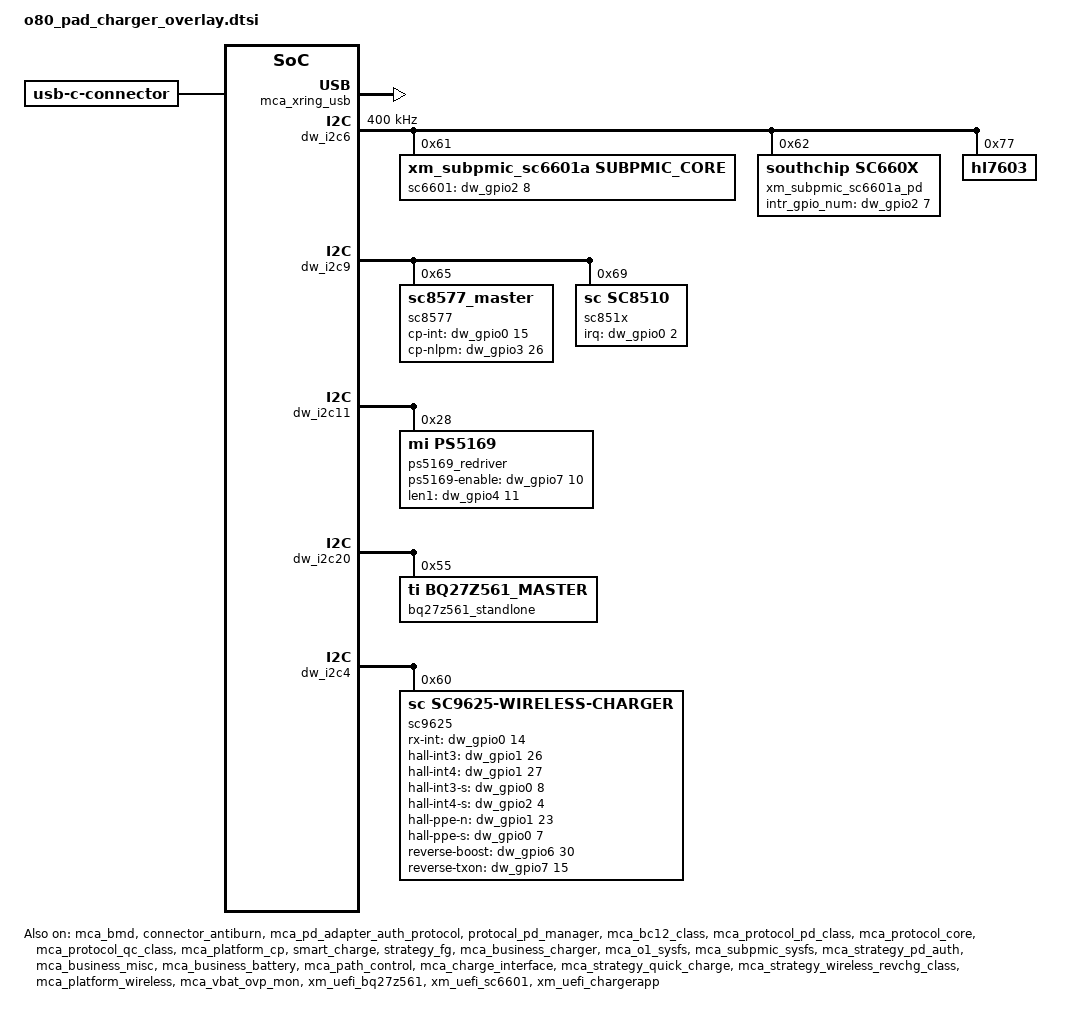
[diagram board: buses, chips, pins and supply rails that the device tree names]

&mca_bmd {
	status = "okay";
	btb_bmd_scheme = <3 3>;
	//pinctrl-names = "default";
	//pinctrl-0 = <&slave_batt_det_default>;
	//btb_gpio = <&pmih010x_gpios 2 GPIO_ACTIVE_LOW>;
};

&connector_antiburn {
	status = "okay";
	//names = "default";
	//pinctrl-0 = <&anti_burn_mos_ctrl_default>;
	//mos-ctrl-gpio = <&pm8550_gpios 9 0>;
	//antiburn_otg_detect = <1>;
	//support_soft_antiburn = <1>;
	support_hw_antiburn = <1>;
	//use_double_ntc = <1>;
	monitor_interval = <1000>;
	//thermal-zone-name = "conn_therm";
	thermal-zone-name2 = "conn_therm";
	max_temp_increase_rate = <4>; /*ntc temperature increase speed per second.*/
	otg_boost_src = <2>;   //BOOST_SRC_EXTERNAL
	en_src = <0>;      //OTG_EN_BOOST
	//thermal-board-temp-name = "board_sensor_therm";
};

&mca_pd_adapter_auth_protocol {
		status = "okay";
};

&protocal_pd_manager {
	status = "okay";
	connector {
		compatible = "usb-c-connector";
		power-role = "dual";
		data-role = "dual";
		self-powered;
	};
};

&{/}{
	mca_xring_usb: mca_xring_usb {
		status = "okay";
		compatible = "mca,mca_xring_usb";
		xr-usb = <&usb>;
	};
};

&mca_bc12_class {
	status = "okay";
};

&mca_protocol_pd_class {
	status = "okay";
	max_power = <120>;
};

&mca_protocol_core {
	status = "okay";
};

&mca_protocol_qc_class {
	status = "okay";
};

&mca_platform_cp {
	status = "okay";
	cp-num = <1>;
	cp-dir-list = "cp_master";
};

&smart_charge {
	status = "okay";
	cell_type = <1>;
	support_cc_ichg;
	cc_ichg_cfg = </* cyclecount delta_ichg*/
	800 100
	65536 200>;
	enable_fv_dec_by_cc = <1>;
};

&strategy_fg {
	status = "okay";

	fg_type = <1>;
	report-full-rsoc = <9500>;
	soc-proportion = <95>;
	soc-proportion-c = <94>;
	vcutoff_shutdown_delay = <6400>;
	vcutoff_sw = <6300>;
	fg_hightemp_vterm = <8400>;
	support-full-curr-monitor;
	support-vpack-low-shutdown;
	terminated_by_cp = <1>;

	/*get factory aging test cyclecount and volt*/
	/*batt_cyclecount  vout_threshold*/
	full-volt-monitor = <
		301 9020
		101 9060
		0 9100
	>;
	adapt_power = <120>;
	model-name = "O80_12000mah_120w";
	support_dtpt = <1>;
	support-lossless-rechg = <0>;
	charge-full-design = <12000>;
	lossless_rechg_cfg = <15 47 300>;
};

&mca_business_charger {
	status = "okay";
};

&mca_o1_sysfs {
	status = "okay";
};

&mca_subpmic_sysfs {
	status = "okay";
};

&mca_strategy_pd_auth {
	status = "okay";
};

&mca_business_misc {
	status = "okay";
};

&soc_limit {
	status = "okay";
};

&mca_business_battery {
	status = "okay";
};
&mca_strategy_buckchg_class {
	status = "okay";
	support_hw_bc12 = <1>;
	ship_mode_chip = <1>;	/* 0:MAIN_BUCK_CHARGER, 1:AUX_BUCK_CHARGER  */
	ffc_temp_low = <18>;
	ffc_temp_high = <48>;
	pmic_fv_compensation = <25>;
	mca_wire_use_sc_buck = <1>;	/* 0:WIRE UNUSE SC SUBPMIC BUCK, 1:WIRE USE SC SUBPMIC BUCK*/
	vbat_fg_to_pmic_ratio = <2>;
	vote_buck_vterm_buf = <80>;
	vote_buck_iterm_buf = <40>;
	sw_cv_vterm_th = <8600>;
	full_replug_ichg_limit = <400>;
};

&mca_path_control {
	status = "okay";
};

&mca_charge_interface
{
	status = "okay";
};

&mca_strategy_quick_charge {
	status = "okay";

	batt_type = <1>;	/* single fg, two cells in series */
	cp_type = <0>;
	min_vbat = <6000>;
	max_vbat = <8980>;
	recharge_vbat_delta = <250>;
	die_temp_max = <125>;
	adp_temp_max = <125>;
	div_delta_volt = <600 600 800>;
	div_delta_ibat = <150 200 150>;
	div_single_curr = <8000 11000 14000>;
	div_max_curr = <8000 8000 14000>;
	ibus_compensation = <600 300 200>;
	multi_ibus_th = <2000 1500 600>;
	ibus_inc_hysteresis = <200 200 100>;
	ibus_dec_hysteresis = <200 200 100>;
	open_path_th = <800 600 400>;
	support_mode = <3>;
	max_power = <120000>;
	qc_normal_charge_fv = <8960>;
	qc3_max_vbus_limit = <9500>;
	qc3_max_ibus_limit = <2500>;
	qc3_ibat_max_limit = <5000>;
	qc3p5_max_vbus_limit = <10000>;
	qc3p5_max_ibus_limit = <2200>;
	qc3p5_ibat_max_limit = <4400>;
	qc_taper_fcc_thr = <2400>;
	qc3_taper_vol_hys = <25>;
	qc3p5_taper_vol_hys = <20>;
	pps_taper_vol_hys = <0>;
	fv_hys_delta_mv = <4>;
	curr_terminate_ratio = <115>;
	pps_taper_fcc_thr = <2100>;
	hardware_cv = <0>;
	support_cp_vfc = <0>;
	support_curr_monitor = <0>;
	cp_switch_pmic_th = <900>;
	rawsoc_swith_pmic_th = <9600>;

	vstep_para =
		"1", "2000", "2",
		"2", "8000", "20",
		"2", "4000", "15",
		"2", "2500", "4",
		"2", "1000", "2",
		"2", "600", "2";

	batt_para =
		"0", "atl", "batt_para_atl";

	/* -------------------- batt_para_atl start -------------------- */
	/* temp_low, temp_high, low_temp_hys, high_temp_hys, max_current, normal_fv, ffc_fv,volt_para_name stage_para_name*/
	batt_para_atl =
		"-65535", "8", "0", "0", "0", "8960", "9000", "null", "null", "null", "null",
		"8", "13", "0", "1", "2960", "9000", "9000", "normal_para_atl_8_13", "null", "null", "null",
		"13", "18", "0", "1", "4736", "9000", "9000", "normal_para_atl_13_18", "null", "null", "null",
		"18", "35", "2", "2", "11000", "8960", "9100", "normal_para_atl_18_35", "ffc_para_atl_18_35", "null", "ffc_stage_atl_18_35",
		"35", "48", "2", "2", "11000", "8960", "9100", "normal_para_atl_35_48", "ffc_para_atl_35_48", "null", "ffc_stage_atl_35_48",
		"48", "55", "0", "2", "2960", "8200", "8200", "normal_para_atl_48_60", "null", "null", "null",
		"55", "65535", "0", "0", "0", "8200", "8200", "null", "null", "null", "null";

	normal_para_atl_8_13 =
		"8977", "2960", "1500";

	normal_para_atl_13_18 =
		"8977", "4736", "1500";

	normal_para_atl_18_35 =
		"8937", "5920", "1500";

	ffc_para_atl_18_35 =
		"8230", "11000", "8880",
		"8480", "8880", "7700",
		"8780", "7700", "5920",
		"9077", "5920", "1717";
	ffc_stage_atl_15_35 = <0 0 0 0 0 0 0 0>;

	normal_para_atl_35_48 =
		"8937", "5920", "1500";

	ffc_para_atl_35_48 =
		"8230", "11000", "8880",
		"8480", "8880", "7696",
		"8780", "7696", "5920",
		"9077", "5920", "2250";
	ffc_stage_atl_35_48 = <0 0 0 0 0 0 0 0>;

	normal_para_atl_48_60 =
		"8180", "2960", "1500";
	/* -------------------- batt_para_atl end -------------------- */
};

&mca_charger_thermal
{
	status = "okay";

	/* 5v_in 9v_in 5v_ichg 9v_ichg div1_single div1_multi div2_single div2_multi div4_single div4_multi*/
	wired_thermal = <
	1500 1500 750 1500 8000  8000  8000  8000  8000  8000 /* level 1 */
	1500 1500 750 1500 6000  6000  6000  6000  6000  6000 /* level 2 */
	1500 1500 750 1500 4500  4500  4500  4500  4500  4500  /* level 3 */
	1500 1500 750 1500 4000  4000  4000  4000  4000  4000  /* level 4 */
	1500 1500 750 1500 3500  3500  3500  3500  3500  3500  /* level 5 */
	1500 1500 750 1500 3000  3000  3000  3000  3000  3000  /* level 6 */
	1500 1500 750 1500 2500  2500  2500  2500  2500  2500  /* level 7 */
	1500 1500 750 1500 2000  2000  2000  2000  2000  2000  /* level 8 */
	1500 1500 750 1500 1750  1750  1750  1750  1750  1750  /* level 9 */
	1500 1500 750 1500 1500  1500  1500  1500  1500  1500  /* level 10 */
	1500 1500 750 1400 1200  1200  1200  1200  1200  1200  /* level 11 */
	1500 1500 750 1200 1000  1000  1000  1000  1000  1000  /* level 12 */
	1500 1500 750 1100 750   750   750   750   750   750   /* level 13 */
	1500 1500 750 1100 500   500   500   500   500   500   /* level 14 */
	1500 1500 750 1000 250   250   250   250   250   250   /* level 15 */
	>;
};

&mca_buckchg_jeita
{
	status = "okay";
	sdp_decrease_vi_term = <20 96>;
	high_tbat_stop_chg_fv = <8200>;
	/* temp_low, temp_high, low_temp_hys, high_temp_hys, max_current, vterm, iterm, volt_para_name */
	jeita_para =
		"-65535", "-9", "0", "2", "0", "8985", "296", "null",
		"-9", "3", "1", "2", "592", "8985", "296", "null",
		"3", "8", "1", "2", "1184", "8985", "296", "null",
		"8", "13", "1", "2", "2960", "8985", "296", "null",
		"13", "18", "1", "2", "3000", "8985", "296", "null",
		"18", "35", "2", "2", "3000", "8945", "296", "null",
		"35", "48", "2", "0", "3000", "8945", "296", "null",
		"48", "55", "2", "0", "2960", "8195", "296", "null",
		"55", "65535", "2", "0", "0", "8195", "296", "null";
		// para_n10_0 =
		// 	"9000", "592";
		// para_0_5 =
		// 	"9000", "1184";
		// para_5_10 =
		// 	"9000", "2960";
		// para_10_15 =
		// 	"9000", "4736";
};

&dw_i2c6 {
	status = "okay";
	#address-cells = <1>;
	#size-cells = <0>;
	clock-frequency = <400000>;
	xm_subpmic_sc6601a {
		#io-channel-cells = <1>;
		compatible = "xm_subpmic_sc6601a,subpmic_core";
		reg = <0x61>;
		//interrupt-parent = <&dw_gpio2>;
		sc6601-gpio = <&dw_gpio2 8 0>;

		//interrupts = <GIC_SPI 72 IRQ_TYPE_LEVEL_LOW>;
		interrupt-controller;
		#interrupt-cells = <1>;
		pinctrl-names = "default";
		pinctrl-0 = <&gpio_072_default>; //72

		xm_subpmic_sc6601a_drv {
			#io-channel-cells = <1>;
			compatible = "xm_subpmic_sc6601a,subpmic_drv";
			vbusp-gpio = <&dw_gpio6 29 0>; //gpio 212
			otg_boost_src = <1>;	// 0 : charger boost	1 : gpio
			otg_boost_en = <&dw_gpio6 27 0>;
			otg_en = <&dw_gpio7 14 0>;
			pinctrl-names = "default";
			pinctrl-0 = <&otg_boost_en_default>,
						<&otg_en_default>;
			interrupts = <6>,
						 <0>,
						 <3>;
			interrupt-names = "Hourse Keeping",
							  "Buck Charger",
							  "DPDM";
							  //"LED";
			//dpdm-supply = <&usb2_phy0>;
			sc,vsys-limit = <3500>;
			sc,batsnc-enable = <1>;
			sc,vbat = <4528>;
			sc,charge-curr = <4000>;
			sc,iindpm-disable = <0>;
			sc,input-curr-limit = <3000>;
			sc,ico-enable = <0>;
			sc,iindpm-ico = <100>;
			sc,vindpm = <4500>;
			sc,precharge-volt = <1>;	/* 0:2900mv, 1:3000, 2:3100, 3:3200 */
			sc,precharge-curr = <250>;
			sc,term-en = <1>;
			sc,term-curr = <1100>;	/* ma */
			sc,rechg-dis = <1>;
			sc,rechg-dg = <0>;		/* 0:64ms , 1:256ms , 2:1024ms , 3:2048ms */
			sc,rechg-volt = <0>;		/* 0:100mv , 1:200mv , 2:300mv , 3:400mv */
			sc,boost-voltage = <5000>;
			sc,boost-max-current = <1500>;
			sc,conv-ocp-dis = <0>;
			sc,tsbat-jeita-dis = <1>;
			sc,ibat-ocp-dis = <0>;
			sc,vpmid-ovp-otg-dis = <0>;
			sc,vbat-ovp-buck-dis = <0>;
			sc,ibat-ocp = <1>;    /* 0:12A  default value, 1:range 16A-17A */
			sc,chg-timer = <3>;		/* 0:5h 1:8h	2:12h	3:24h */
			xr-usb = <&usb>;
			usb-repeater = <&repeater_PTN3222>;
			sc,sc660x-pd-auth-en = <0>;
		};

		xm_subpmic_sc6601a_cid {
			compatible = "xm_subpmic_sc6601a,subpmic_cid";
			status = "okay";
			interrupts = <7>;
			interrupt-names = "CID";
			cid-force-source = <1>; /* 0:phone-snk 1:pad-source */
		};
	};

	xm_subpmic_sc6601a_pd {
		#io-channel-cells = <1>;
		compatible = "southchip,sc660x";
		reg = <0x62>;

		sc-tcpc,name = "type_c_port0"; /* tcpc_device's name */
		sc-tcpc,role_def = <4>; /* 0: Unknown, 1: SNK Only, 2: SRC Only*/
					/* 3: DRP, 4: Try.SRC, 5: Try.SNK */
		sc-tcpc,rp_level = <1>; /* 0: Default, 1: 1.5, 2: 3.0 */
		sc-tcpc,vconn_supply = <1>;  /* 0: Never, 1: Always, */
						  /* 2: EMarkOnly, 3: StartOnly */
		sc660x,intr_gpio_num = <&dw_gpio2 7 0>; //gpio 71
		pinctrl-names = "default";
		pinctrl-0 = <&gpio_071_default>;
		pd-data {
			pd,vid = <0x311c>;
			pd,pid = <0x6600>;
			pd,source-cap-ext = /bits/ 8 <0x1c 0x31 0x00 0x66
			      0x00 0x00 0x00 0x00
			      0x00 0x00 0x00 0x00
			      0x00 0x00 0x00 0x00
			      0x00 0x00 0x00 0x00
			      0x00 0x00 0x01 0x02
			      0x00>;
			pd,sink-cap-ext = /bits/ 8 <0x1c 0x31 0x00 0x66
				   0x00 0x00 0x00 0x00
				   0x01 0x00 0x00 0x00
				   0x00 0x00 0x00 0x00
				   0x01 0x00 0x00 0x00
				   0x00 0x00 0x00 0x00>;
			pd,mfrs = "SouthChip";

			/*
			 *	VSAFE5V = 0, MAX_POWER = 1, CUSTOM = 2,
			 *	MAX_POWER_LV = 0x21, MAX_POWER_LVIC = 0x31
			 *	MAX_POWER_HV = 0x41, MAX_POWER_HVIC = 0x51
			 */
			pd,charging_policy= <0x31>;

			/*
			 * Fixed 5V, 500 mA <0x00019032>
			 * Fixed 5V, 1A <0x00019064>
			 * Fixed 5V,1.5A <0x00019096>
			 * Fixed 5V, 2A <0x000190c8>
			 * Fixed 5V, 3A <0x0001912c>
			 * Fixed 9V, 500 mA <0x0002d032>
			 * Fixed 9V, 1A <0x0002d064>
			 * Fixed 9V, 2A <0x0002d0c8>
			 * Fixed 9V, 3A <0x0002d12c>
			 * Variable 5-9V, 1A <0x8642d064>
			 * Variable 5-9V, 2A <0x8642d0c8>
			 * Variable 5-9V, 3A <0x8642d12c>
			 * PPS 3V~5.9V, 3A <0xC0761E3C>
			 */
			pd,source-pdo-size = <1>;
			/* Fixed 5V,1A */
			pd,source-pdo-data = <0x00019064>;
			pd,sink-pdo-size = <1>;
			pd,sink-pdo-data = <0x000190c8>;

			/*0110 1110 0011 0010
			 * No DP, host + device
			 *	pd,id-vdo-size = <6>;
			 *	pd,id-vdo-data = <0xd14029cf 0x0 0x17110000
						  0x61000000 0x0 0x41000000>;
			 * With DP
			 *	pd,id-vdo-size = <6>;
			 *	pd,id-vdo-data = <0xd54029cf 0x0 0x17110000
						  0x61000000 0x0 0x41000000>;
			 */


			pd,id-vdo-size = <6>;
			pd,id-vdo-data = <0xd54029cf 0x0 0x17110000
						  0x61000000 0x0 0x41000000>;

			bat,nr = <1>;
			pd,country_nr = <0>;

			bat-info0 {
				bat,vid = <0x311c>;
				bat,pid = <0x6600>;
				bat,mfrs = "bat1";
				bat,design_cap = <3000>;
			};
		};
		dpm_caps {
			local_dr_power;
			local_dr_data;
			//local_ext_power;
			local_usb_comm;
			//local_usb_suspend;
			local_high_cap;
			//local_give_back;
			local_no_suspend;
			local_vconn_supply;

			attempt_discover_cable_dfp;
			attempt_enter_dp_mode;
			attempt_discover_cable;
			attempt_discover_id;
			attempt_discover_svid;

			/* 0: disable, 1: prefer_snk, 2: prefer_src */
			pr_check = <0>;
			//pr_reject_as_source;
			//pr_reject_as_sink;
			//pr_check_gp_source;
			//pr_check_gp_sink;

			/* 0: disable, 1: prefer_ufp, 2: prefer_dfp */
			dr_check = <0>;
			//dr_reject_as_dfp;
			//dr_reject_as_ufp;
		};
		displayport {
			/* connection type = "both", "ufp_d", "dfp_d" */
			1st_connection = "dfp_d";
			2nd_connection = "dfp_d";
			signal,dp_v13;
			//signal,dp_gen2;
			//usbr20_not_used;
			typec,receptacle;
			ufp_d {
				//pin_assignment,mode_a;
				//pin_assignment,mode_b;
				//pin_assignment,mode_c;
				//pin_assignment,mode_d;
				//pin_assignment,mode_e;
			};
			dfp_d {
				//pin_assignment,mode_a;
				//pin_assignment,mode_b;
				pin_assignment,mode_c;
				pin_assignment,mode_d;
				pin_assignment,mode_e;
				//pin_assignment,mode_f;
			};
		};
	};

	hl7603@77 {
		compatible = "hl7603";
		status = "okay";
		reg = <0x77>;
		vout_threshold = <3400>;
	};
};

&dw_i2c9 {
	status = "okay";
	#address-cells = <1>;
	#size-cells = <0>;
	sc8577@65 {
		compatible = "sc8577_master";
		status = "okay";
		ic_role = <0>;
		reg = <0x65>;
		cp-int= <&dw_gpio0 15 0>; //gpio15
		cp-nlpm-gpio = <&dw_gpio3 26 0>;//gpio 107
		pinctrl-names = "default";
		pinctrl-0 = <&gpio_015_default>,
					<&gpio_107_default>,
					<&gpio_212_default>; //gpio212	ovpmos gpio
		bat-ovp-threshold = <9300>;
		bat-ovp-alarm-threshold = <9200>;
		tdie-alm-threshold = <700>;
		bus-ovp-threshold = <21000 11000>;
		usb-ovp-threshold = <22000 13000>;
		bus-ocp-threshold = <6000 6000>;
		wpc-ovp-threshold = <22000>;
		out-ovp-threshold = <10000>;
		pmid2-uvp-threshold = <100>;
		pmid2-ovp-threshold = <600>;
	};

	sc851x@69{
		status = "okay";
		compatible = "sc,sc8510";
		reg = <0x69>;
		pinctrl-names = "default";
		pinctrl-0 = <&gpio_002_default>; // sc8510 int

		sc,sc851x,irq-gpio = <&dw_gpio0 2 0>;
		sc,sc851x,v2x-ovp-dis = <0>;/*0:enable 1:disable*/
		sc,sc851x,v2x-ovp = <2>; /*9500 + val * 500, mV*/
		sc,sc851x,v2x-uvlo = <1>; /*0:4.2V  1:4.4V*/
		sc,sc851x,v2x-s2f = <1>; /*0:5.05V 1:5.5V 2:5.75V 3:6V*/
		sc,sc851x,uvlo-deg = <0>; /*0:0s 1:20us 2:80us 3:250us*/
		sc,sc851x,v1x-ovp-dis = <0>; /*0:enable 1:disable*/
		sc,sc851x,v1x-ovp = <23>; /*5.5V*/
		sc,sc851x,v1x-scp-dis = <1>; /*0:enable 1:disable*/
		sc,sc851x,v1x-scp-f = <0>; /*0:2V 1:2.2V*/
		sc,sc851x,vac-ovp-dis = <0>; /*0:enable 1:disable*/
		sc,sc851x,vac-ovp = <15>; /*6.5 + val * 0.5 V*/
		sc,sc851x,rvs-ocp = <15>; /*300 + val * 25 mV*/
		sc,sc851x,fwd-ocp = <15>; /*400 + val * 25 mV*/
		sc,sc851x,wdt = <0>; /*0:disable*/
		sc,sc851x,lnc-ss-timeout-dis = <0>; /*0:enable 1:disable*/
		sc,sc851x,lnc-ss-timeout = <3>;/*0:disable 1:10min 2:20min 3:40min*/
		sc,sc851x,ss-timeout-dis = <0>; /*0:enable 1:disable*/
		sc,sc851x,audio-en = <0>; /*0:disable 1:enable*/
		sc,sc851x,audio-freq = <0>; /*0:34KHz 1:68KHz*/
		sc,sc851x,audio-into-dg = <1>; /*0:1ms 1:8ms*/
		sc,sc851x,freq = <6>; /*250 + val * 50 KHz*/
		sc,sc851x,ref-skip-r = <5>; /*15 + val * 5 mV*/
		sc,sc851x,skip-hyst = <3>; /*val * 5 mV*/
		sc,sc851x,t-vac-ovp-dg = <0>; /*0:no dg 1:10us*/
		sc,sc851x,t-v2x-ovp-dg = <0>; /*0:no dg 1:10us*/
		sc,sc851x,t-v1x-ovp-dg = <0>; /*0:no dg 1:10us*/
		sc,sc851x,t-fwd-ocp-dg = <0>; /*0:no dg 1:10us*/
		sc,sc851x,t-rvs-ocp-dg = <0>; /*0:no dg 1:10us*/
		sc,sc851x,t-v2x2vad-lnc-max-dg = <0>; /*0:no dg 1:1us*/
		sc,sc851x,t-t3-set = <0>; /*0:20s 1:30s*/
		sc,sc851x,fwd-ocp-dis = <0>; /*0:enable 1:disable*/
		sc,sc851x,rvs-ocp-dis = <0>; /*0:enable 1:disable*/
		sc,sc851x,tshut-dis = <1>; /*0:enable 1:disable*/
		sc,sc851x,v1x-oss-opp-dis = <0>; /*0:enable 1:disable*/
		sc,sc851x,fam-en = <0>; /*0:disable 3:enable*/
	};
};

&dw_i2c11 {
	status = "okay";
	#address-cells = <1>;
    #size-cells = <0>;
	ps5169_redriver: ps5169@28 {
		status = "okay";
		compatible = "mi,ps5169";
		reg = <0x28>;
		mi,ps5169-enable = <&dw_gpio7 10 0>;
        len1-gpios = <&dw_gpio4 11 0>; //LS PAD_GPIO_124
		//o1,cc_orientatoin = <&tlmm 11 0x00>;
		pinctrl-names = "ps5169_active", "ps5169_suspend";
		pinctrl-0 = <&ps5169_en_active>;
		pinctrl-1 = <&ps5169_en_sleep>;
	};
};

&dw_i2c20 {
	status = "okay";
	#address-cells = <1>;
	#size-cells = <0>;
	bq27z561_standlone@55 {
		compatible = "ti,bq27z561_master";
		reg = <0x55>;
		status = "okay";
	};
};

&dw_i2c4 {
	status = "okay";
	#address-cells = <1>;
	#size-cells = <0>;
	sc9625@60 {
		status = "okay";
		compatible = "sc,sc9625-wireless-charger";
		reg = <0x60>;
		project_vendor = <5>;
		rx_role = <0>;
		fw_version_index = <2>;
		pinctrl-names = "default";
		pinctrl-0 = <&gpio_007_default>,
				<&gpio_008_default>,
				<&gpio_014_default>,
				<&gpio_055_default>,
				<&gpio_058_default>,
				<&gpio_059_default>,
				<&gpio_068_default>;
		rx-int = <&dw_gpio0 14 0>; //gpio14
		hall-int3 = <&dw_gpio1 26 0>; //gpio58
		hall-int4 = <&dw_gpio1 27 0>; //gpio59
		hall-int3-s = <&dw_gpio0 8 0>; //gpio8
		hall-int4-s = <&dw_gpio2 4 0>; //gpio68
		hall-ppe-n = <&dw_gpio1 23 0>; //gpio55
		hall-ppe-s = <&dw_gpio0 7 0>; //gpio7
		reverse-boost-gpio = <&dw_gpio6 30 0>; //gpio213
		reverse-txon-gpio = <&dw_gpio7 15 0>; //gpio230
	};
};

&mca_strategy_wireless_revchg_class{
	status = "okay";
	rev_boost_src = <2>;
	support-tx-only = <1>;
};

&mca_platform_wireless {
	status = "okay";
	wireless-num = <1>;
	wireless-dir-list = "wireless_master";
};

&mca_vbat_ovp_mon {
	vbat_ovp_threshold_ffc = <9100>;
	vbat_ovp_threshold_normal = <8960>;
	status = "okay";
};

&xm_uefi_bq27z561 {
	status = "okay";
	i2c-bus-id = <20>;
	i2c-addr = <0x55>;
	i2c-retry-max-cnt = <3>;

	i2c-err-default-vbat = <(-1)>;	/* will directly try booting when vbat <= 500mA */
};

&xm_uefi_sc6601 {
	status = "okay";
	i2c-bus-id = <6>;
	i2c-addr = <0x61>;
	i2c-retry-max-cnt = <3>;

	/* hw init */
	spmic,vbat = <4528>;
	spmic,charge-curr = <500>;
	spmic,iindpm-disable = <0>;
	spmic,input-curr-limit = <500>;
	spmic,ico-enable = <0>;
	spmic,iindpm-ico = <100>;
	spmic,precharge-volt = <1>;	/* 0:2900mv, 1:3000, 2:3100, 3:3200 */
	spmic,precharge-curr = <250>;
	spmic,vac_ovp = <6000>;
	spmic,vbus_ovp = <6000>;

	support-wireless-chg = <0>;

	cp,i2c-bus-id = <9>;
	cp,i2c-addr = <0x65>;
	cp,ovpgate-ovp-reg = <0x0E>;
	cp,ovpgate-ovp-val = <0x4C>;

	i2c-err-default-vbat = <(-1)>;	/* will directly try booting when vbat <= 500mA */
};

&xm_uefi_chargerapp {
	status = "okay";
	disable-charger = <0>; /* 0: enable uefi charger app 1: disable */
	boot-kernel-volt-th = <6800>;
	fastcharge-volt-th = <6000>;
	precharge-volt-th = <5000>;
	tbat-low-temp-th = <(-100)>;	/* 0.1C */
	tbat-high-temp-th = <600>;	/* 0.1C */
	tbat-critical-temp-th = <570>;	/* 0.1C */
	tbat-critical-resume-th = <550>;
	batt-low-uefi-shutdown-th = <6000>;
	fg-pmic-vbat-ratio = <2>;	/* vbatfg/vbatpmic = 2*/
	high-soc-boot-volt-th = <6600>;

	precharge-curr-mA = <470>;

	sdp-aicl = <500>;
	sdp-ichg = <500>;
	cdp-aicl = <1500>;
	cdp-ichg = <1500>;
	dcp-aicl = <1500>;
	dcp-ichg = <1500>;
	hvdcp-aicl = <1700>;
	hvdcp-ichg = <3000>;	/* ibat of pmic, not fg */

	support-zero-boot = <0>; /* 0: not supplort zero speed boot 1: support */
	sw-chgtype-volt-cfg = <6100 6800>, /* sdp */
		<6100 6800>, /* cdp */
		<6100 6800>, /* dcp */
		<6100 6800>, /* hvdcp */
		<6100 6800>; /* float */
	sw-jeita-cfg = <(-10) 0 956 6800>,
		<0 5 2390 6800>,
		<5 10 3000 6800>,
		<10 48 3000 6800>,
		<48 60 3000 6800>;
	sw-cycle-count-cfg = <0 100 6800>,
		<100 300 6800>,
		<300 800 6800>,
		<800 65535 6800>;
};
